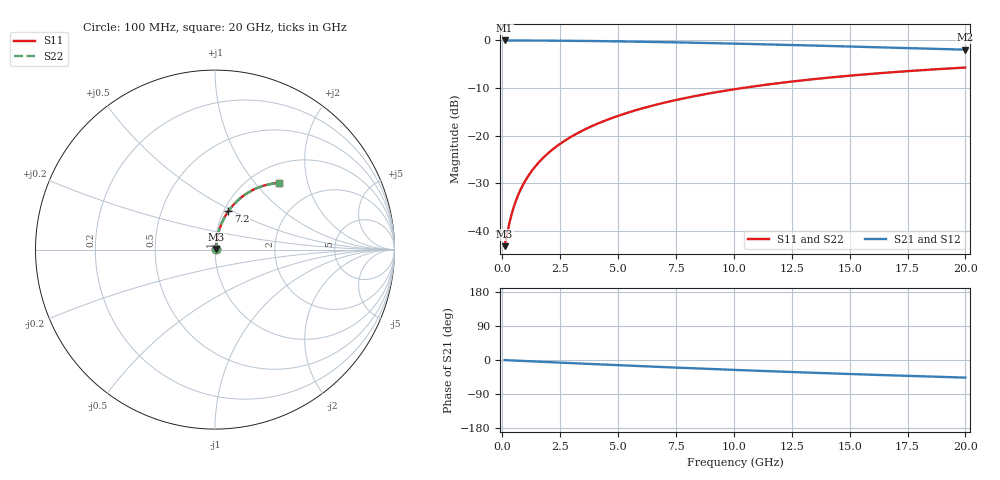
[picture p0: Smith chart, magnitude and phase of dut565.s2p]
! Touchstone file exported from HFSS 2024.1.0
!  File:  C:/UserFiles/LocalFiles/RDL_TSV_Batchsim/temp_RDL_top_565_1779681501.aedt
!  Generated:  12:00:49 PM May 25, 2026
!  Design:  RDL_top
!  Project:  temp_RDL_top_565_1779681501
!  Setup:  Setup1
!  Solution:  Sweep
! Variables:
!  dtsv = 10.80580581um
!  hbump = 3um
!  htsv = 88.44um
!  ldown = 100um
!  lrdl = 619.74um
!  p = 40
!  p1 = 44.07um
!  rhole = 1um
!  t = 450um
!  tdown = 3.915915916um
!  trdl = 3.61um
!  wdown = 15.38538539um
!  wrdl = 10.08um
# GHz S MA R 50.000000
! Terminal data exported
! Port[1] = Box2_T1
! Port[2] = Box2_T2
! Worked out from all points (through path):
!   200 points, 100 MHz to 20 GHz, reference 50 ohm
!   highest |S21| = -0.05 dB at 100 MHz (marker M1); lowest = -2.0 dB at 20 GHz (marker M2)
!   group delay of S21, straight-line fit = 6.46 ps
!   lowest |S11| = -43.2 dB at 100 MHz (marker M3), VSWR 1.01, Z = 50.6 + j0.341 ohm
!   |S11| at or under -10 dB: start of sweep to 10.42 GHz
!   |S22| runs from -43.2 to -5.7 dB; largest |S21 - S12| = 2.2e-15
!   S11 on the Smith chart (normalised r, x): 100 MHz: 1.01, +0.01; 7.2 GHz: 1.05, +0.48; 20 GHz: 1.34, +1.35
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0.1  0.006902 29.2  0.994 -0.3  0.994 -0.3  0.006902 29.2
! Gamma 0 0 0 0
! Port Impedance 50 0 50 0
0.3  0.01184 58.1  0.9938 -0.9  0.9938 -0.9  0.01184 58.1
0.4  0.01482 64.2  0.9936 -1.1  0.9936 -1.1  0.01482 64.2
0.5  0.0179 68.2  0.9935 -1.4  0.9935 -1.4  0.0179 68.2
0.6  0.02104 70.9  0.9933 -1.7  0.9933 -1.7  0.02104 70.9
0.7  0.02419 72.9  0.9931 -2.0  0.9931 -2.0  0.0242 72.9
0.9  0.03055 75.4  0.9927 -2.5  0.9927 -2.5  0.03055 75.4
1.2  0.04015 77.5  0.9921 -3.4  0.9921 -3.4  0.04015 77.5
1.4  0.04656 78.3  0.9915 -3.9  0.9915 -3.9  0.04656 78.3
1.7  0.05621 78.9  0.9907 -4.7  0.9907 -4.7  0.05621 78.9
2.2  0.07228 79.2  0.9889 -6.1  0.9889 -6.1  0.07228 79.2
2.8  0.09152 78.8  0.9863 -7.7  0.9863 -7.7  0.09152 78.8
3.5  0.1138 77.9  0.9825 -9.6  0.9825 -9.6  0.1138 77.9
4.2  0.1359 76.8  0.9781 -11.5  0.9781 -11.5  0.1359 76.8
5  0.1608 75.3  0.9722 -13.6  0.9722 -13.6  0.1608 75.3
6.8  0.2153 71.6  0.9562 -18.3  0.9562 -18.3  0.2152 71.6
7.2  0.227 70.8  0.9523 -19.3  0.9523 -19.3  0.227 70.8
8.6  0.267 67.9  0.9374 -22.7  0.9374 -22.7  0.2669 67.8
10.1  0.3078 64.7  0.9201 -26.3  0.9201 -26.3  0.3077 64.7
13.4  0.3891 58.0  0.8792 -33.6  0.8792 -33.6  0.3889 58.0
16.7  0.4585 51.7  0.8369 -40.3  0.8369 -40.3  0.4583 51.7
20  0.5166 46.0  0.7956 -46.4  0.7956 -46.4  0.5163 45.9
